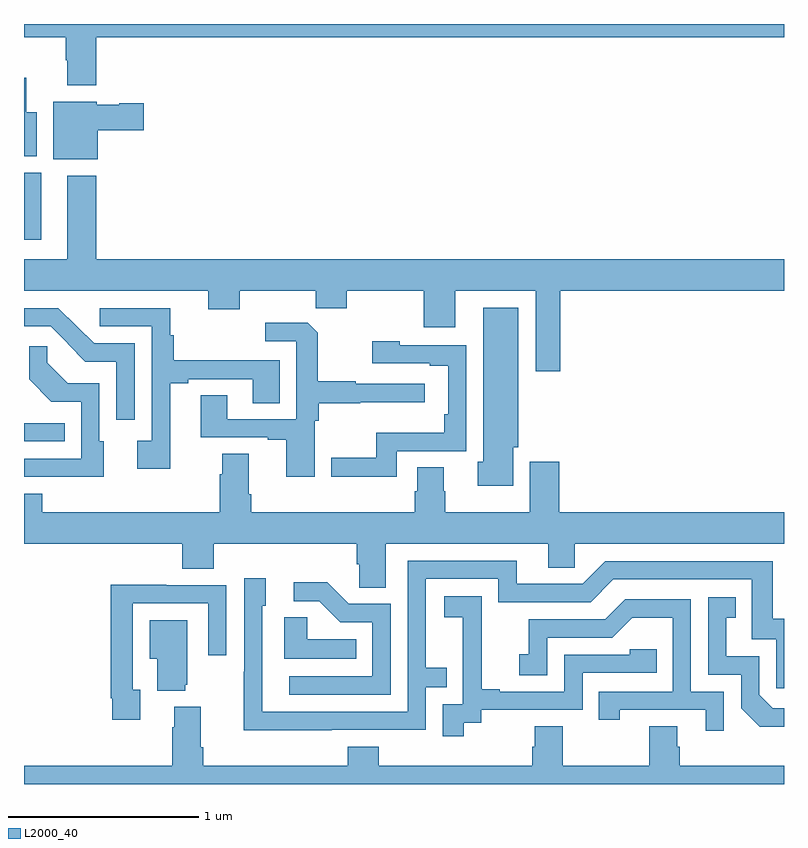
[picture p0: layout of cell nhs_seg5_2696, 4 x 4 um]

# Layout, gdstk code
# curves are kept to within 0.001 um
import gdstk
lib = gdstk.Library(unit=1e-6, precision=1e-09)
def R(c, l, rs):  # rectangles x0, y0, x1, y1
    for r in rs: c.add(gdstk.rectangle(r[:2], r[2:], *l))
def P(c, l, *ps):  # polygons
    for p in ps: c.add(gdstk.Polygon(p, *l))
L2000_40 = (2000, 40)

nhs_seg5_2696 = lib.new_cell('nhs_seg5_2696')
R(nhs_seg5_2696, L2000_40, [(267,886.602,267.215,886.698), (267,887.664,267.091,888.016)])
P(nhs_seg5_2696, L2000_40, [(267.38,888.728),(271,888.728),(271,888.799),(267,888.799),(267,888.728),(267.22,888.728),(267.22,888.608),(267.227,888.608),(267.227,888.476),(267.38,888.476)],
  [(267.067,888.334),(267.013,888.334),(267.013,888.517),(267,888.517),(267,888.104),(267.067,888.104)],
  [(267.388,888.239),(267.631,888.239),(267.631,888.381),(267.501,888.381),(267.501,888.373),(267.384,888.373),(267.384,888.391),(267.155,888.391),(267.155,888.086),(267.388,888.086)],
  [(269.822,887.396),(271,887.396),(271,887.56),(267.38,887.56),(267.38,888.001),(267.227,888.001),(267.227,887.56),(267,887.56),(267,887.396),(267.971,887.396),(267.971,887.297),(268.135,887.297),(268.135,887.396),(268.535,887.396),(268.535,887.303),(268.699,887.303),(268.699,887.396),(269.105,887.396),(269.105,887.202),(269.269,887.202),(269.269,887.396),(269.693,887.396),(269.693,886.971),(269.822,886.971)],
  [(269.575,886.572),(269.602,886.572),(269.602,887.305),(269.417,887.305),(269.417,886.496),(269.387,886.496),(269.387,886.37),(269.575,886.37)],
  [(267.769,886.909),(267.865,886.909),(267.865,886.929),(268.205,886.929),(268.205,886.804),(268.345,886.804),(268.345,887.03),(267.788,887.03),(267.788,887.162),(267.77,887.162),(267.77,887.304),(267.399,887.304),(267.399,887.208),(267.672,887.208),(267.672,886.606),(267.597,886.606),(267.597,886.458),(267.769,886.458)],
  [(267.582,887.118),(267.369,887.118),(267.181,887.304),(267,887.304),(267,887.208),(267.141,887.208),(267.231,887.118),(267.229,887.116),(267.323,887.022),(267.486,887.022),(267.486,886.716),(267.582,886.716)],
  [(268.53,886.712),(268.55,886.712),(268.55,886.804),(268.769,886.804),(268.769,886.808),(269.11,886.808),(269.11,886.905),(268.745,886.905),(268.745,886.918),(268.545,886.918),(268.545,887.175),(268.493,887.227),(268.269,887.227),(268.269,887.13),(268.434,887.13),(268.434,886.719),(268.069,886.719),(268.069,886.844),(267.929,886.844),(267.929,886.623),(268.283,886.623),(268.283,886.611),(268.379,886.611),(268.379,886.416),(268.53,886.416)],
  [(268.962,886.551),(269.328,886.551),(269.328,887.109),(268.977,887.109),(268.977,887.128),(268.833,887.128),(268.833,887.013),(269.135,887.013),(269.135,887.001),(269.232,887.001),(269.232,886.744),(269.212,886.744),(269.212,886.648),(268.854,886.648),(268.854,886.517),(268.617,886.517),(268.617,886.415),(268.962,886.415)],
  [(267.421,886.602),(267.396,886.602),(267.396,886.908),(267.23,886.908),(267.122,887.016),(267.122,887.104),(267.027,887.104),(267.027,886.928),(267.143,886.812),(267.3,886.812),(267.3,886.512),(267,886.512),(267,886.416),(267.421,886.415)],
  [(268.903,886.064),(269.759,886.064),(269.759,885.937),(269.898,885.937),(269.898,886.064),(271,886.064),(271,886.228),(269.816,886.228),(269.816,886.495),(269.663,886.495),(269.663,886.228),(269.217,886.228),(269.217,886.341),(269.209,886.341),(269.209,886.466),(269.069,886.466),(269.069,886.341),(269.057,886.341),(269.057,886.228),(268.196,886.228),(268.196,886.324),(268.183,886.324),(268.183,886.538),(268.043,886.538),(268.043,886.43),(268.031,886.43),(268.031,886.228),(267.097,886.228),(267.097,886.327),(267,886.327),(267,886.064),(267.833,886.064),(267.833,885.931),(267.998,885.931),(267.998,886.064),(268.751,886.064),(268.751,885.955),(268.764,885.955),(268.764,885.832),(268.903,885.832)],
  [(268.619,885.084),(269.115,885.084),(269.115,885.309),(269.225,885.309),(269.225,885.41),(269.115,885.41),(269.115,885.879),(269.496,885.879),(269.496,885.756),(269.982,885.756),(270.102,885.876),(270.831,885.876),(270.831,885.561),(270.96,885.561),(270.96,885.303),(271,885.303),(271,885.67),(270.94,885.67),(270.94,885.972),(270.06,885.972),(269.94,885.852),(269.593,885.852),(269.593,885.975),(269.019,885.975),(269.019,885.18),(268.254,885.18),(268.254,885.738),(268.273,885.738),(268.273,885.883),(268.158,885.883),(268.158,885.389),(268.156,885.389),(268.156,885.083)],
  [(268.929,885.747),(268.71,885.747),(268.597,885.86),(268.419,885.86),(268.419,885.762),(268.553,885.762),(268.664,885.651),(268.833,885.651),(268.833,885.366),(268.395,885.366),(268.395,885.27),(268.929,885.27)],
  [(267.613,885.294),(267.573,885.294),(267.573,885.75),(267.969,885.75),(267.969,885.477),(268.065,885.477),(268.065,885.846),(267.749,885.846),(267.749,885.848),(267.457,885.848),(267.457,885.25),(267.465,885.25),(267.465,885.138),(267.613,885.138)],
  [(269.314,885.121),(269.406,885.121),(269.406,885.189),(269.94,885.189),(269.94,885.384),(270.329,885.384),(270.329,885.507),(270.189,885.507),(270.189,885.48),(269.844,885.48),(269.844,885.285),(269.503,885.285),(269.503,885.298),(269.408,885.298),(269.408,885.581),(269.409,885.581),(269.409,885.787),(269.211,885.787),(269.211,885.677),(269.309,885.677),(269.309,885.449),(269.31,885.449),(269.31,885.219),(269.205,885.219),(269.205,885.051),(269.314,885.051)],
  [(271,885.198),(270.942,885.198),(270.87,885.27),(270.87,885.471),(270.697,885.471),(270.697,885.675),(270.746,885.675),(270.746,885.781),(270.6,885.781),(270.6,885.375),(270.774,885.375),(270.774,885.198),(270.872,885.101),(271,885.101)],
  [(270.684,885.285),(270.51,885.285),(270.51,885.771),(270.164,885.771),(270.059,885.666),(269.656,885.666),(269.656,885.481),(269.607,885.481),(269.607,885.372),(269.754,885.372),(269.754,885.57),(270.096,885.57),(270.2,885.674),(270.414,885.674),(270.414,885.285),(270.025,885.285),(270.025,885.138),(270.136,885.138),(270.136,885.189),(270.587,885.189),(270.587,885.078),(270.684,885.078)],
  [(268.748,885.562),(268.491,885.562),(268.491,885.677),(268.37,885.677),(268.37,885.458),(268.748,885.458)],
  [(267.848,885.321),(267.859,885.321),(267.859,885.661),(267.662,885.661),(267.662,885.458),(267.701,885.458),(267.701,885.29),(267.848,885.29)],
  [(271,884.896),(270.452,884.896),(270.452,884.994),(270.439,884.994),(270.439,885.104),(270.292,885.104),(270.292,884.896),(269.835,884.896),(269.835,885.104),(269.687,885.104),(269.687,884.994),(269.675,884.994),(269.675,884.896),(268.868,884.896),(268.868,884.995),(268.703,884.995),(268.703,884.896),(267.944,884.896),(267.944,884.992),(267.931,884.992),(267.931,885.205),(267.791,885.205),(267.791,885.098),(267.779,885.098),(267.779,884.896),(267,884.896),(267,884.799),(271,884.799)])

lib.write_gds('nhs_seg5_2696.gds')
